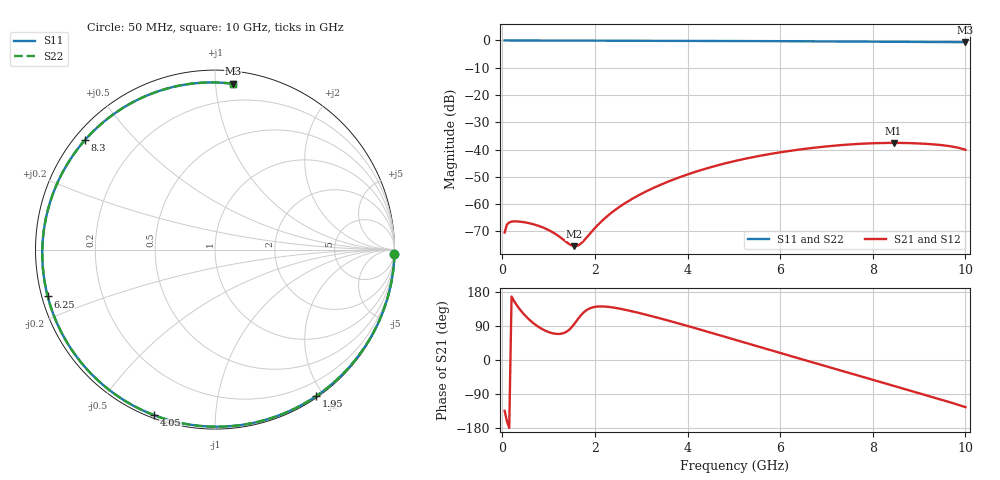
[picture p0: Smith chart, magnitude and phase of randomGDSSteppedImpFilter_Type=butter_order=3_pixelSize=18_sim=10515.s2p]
! freq	dB(S11)	phase(S11)	dB(S12)	phase(S12)
!  dB(S21)	phase(S21)	dB(S22)	phase(S22)
!S-par simulation data
#  GHz  S  DB  R 50
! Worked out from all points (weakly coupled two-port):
!   200 points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, 50 MHz to 10 GHz, reference 50 ohm
!   highest |S21| = -37.55 dB at 8.45 GHz (marker M1); lowest = -75.4 dB at 1.55 GHz (marker M2)
!   lowest |S11| = -0.6 dB at 10 GHz (marker M3), VSWR 27.29, Z = 4.1 + j55.5 ohm
!   |S11| at or under -10 dB: nowhere
!   |S22| runs from -0.6 to 0.0 dB; largest |S21 - S12| = 0
!   S11 on the Smith chart (normalised r, x): 50 MHz: 0, -78; 1.95 GHz: 0.02, -1.90; 4.05 GHz: 0.01, -0.70; 6.25 GHz: 0.02, -0.14; 8.3 GHz: 0.03, +0.37; 10 GHz: 0.08, +1.11
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0.05  -0.00 -1.5  -70.43 -134.0  -70.43 -134.0  -0.00 -1.5
0.1  -0.00 -2.9  -67.51 -161.5  -67.51 -161.5  -0.00 -2.9
0.15  -0.00 -4.4  -66.70 -179.2  -66.70 -179.2  -0.00 -4.4
0.55  -0.01 -16.0  -66.88 110.3  -66.88 110.3  -0.01 -16.0
1  -0.03 -28.9  -69.50 73.8  -69.50 73.8  -0.03 -28.9
1.55  -0.06 -44.4  -75.41 94.3  -75.41 94.3  -0.06 -44.4
1.75  -0.06 -50.0  -73.61 124.8  -73.61 124.8  -0.06 -50.0
1.95  -0.07 -55.5  -69.71 138.8  -69.71 138.8  -0.07 -55.5
2.25  -0.08 -63.6  -64.65 140.7  -64.65 140.7  -0.08 -63.6
2.55  -0.09 -71.6  -60.77 135.1  -60.77 135.1  -0.09 -71.6
3.4  -0.12 -93.7  -53.03 110.1  -53.03 110.1  -0.12 -93.8
4.05  -0.15 -110.1  -48.83 88.1  -48.83 88.1  -0.15 -110.1
5.05  -0.20 -134.7  -44.09 52.5  -44.09 52.5  -0.20 -134.7
5.65  -0.24 -149.4  -42.01 31.0  -42.01 31.0  -0.24 -149.5
6.25  -0.28 -164.4  -40.38 9.7  -40.38 9.7  -0.28 -164.4
6.7  -0.32 -175.8  -39.39 -6.1  -39.39 -6.1  -0.32 -175.9
7.5  -0.39 162.8  -38.13 -34.4  -38.13 -34.4  -0.39 162.8
8.3  -0.47 139.9  -37.56 -62.8  -37.56 -62.8  -0.47 139.8
8.35  -0.48 138.4  -37.56 -64.6  -37.56 -64.6  -0.48 138.3
8.45  -0.49 135.3  -37.55 -68.2  -37.55 -68.2  -0.49 135.3
9.3  -0.57 108.1  -38.08 -98.1  -38.08 -98.1  -0.57 108.1
10  -0.64 83.8  -40.08 -124.3  -40.08 -124.3  -0.64 83.8
